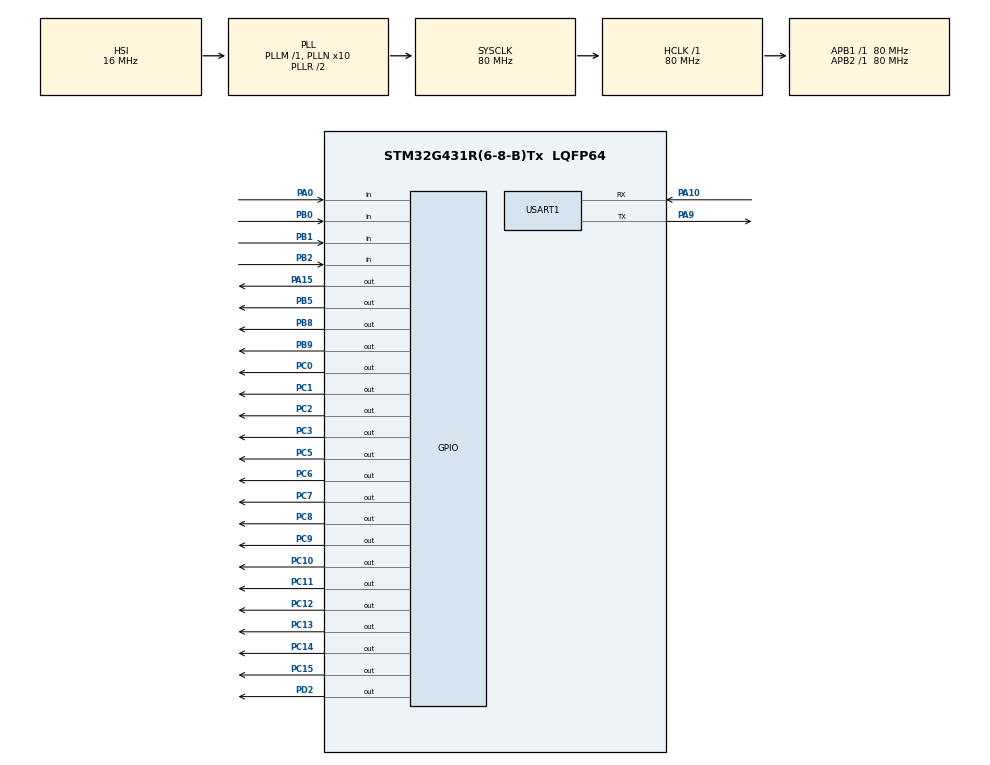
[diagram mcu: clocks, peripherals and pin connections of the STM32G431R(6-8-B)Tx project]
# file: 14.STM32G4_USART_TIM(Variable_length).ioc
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Mcu.Family=STM32G4
PB8-BOOT0.PinState=GPIO_PIN_RESET
RCC.CortexFreq_Value=80000000
PC10.GPIO_PuPd=GPIO_NOPULL
PD2.GPIO_ModeDefaultOutputPP=GPIO_MODE_OUTPUT_PP
PC10.Signal=GPIO_Output
PC12.Signal=GPIO_Output
PB9.GPIO_ModeDefaultOutputPP=GPIO_MODE_OUTPUT_PP
PC0.GPIO_ModeDefaultOutputPP=GPIO_MODE_OUTPUT_PP
PD2.GPIO_Speed=GPIO_SPEED_FREQ_LOW
PC10.GPIO_Speed=GPIO_SPEED_FREQ_LOW
PC2.GPIO_Speed=GPIO_SPEED_FREQ_LOW
PC3.GPIO_Speed=GPIO_SPEED_FREQ_LOW
RCC.SYSCLKSource=RCC_SYSCLKSOURCE_PLLCLK
ProjectManager.StackSize=0x400
PC3.PinState=GPIO_PIN_RESET
PC8.PinState=GPIO_PIN_RESET
PB8-BOOT0.GPIO_ModeDefaultOutputPP=GPIO_MODE_OUTPUT_PP
PC11.GPIO_PuPd=GPIO_NOPULL
PC13.GPIO_ModeDefaultOutputPP=GPIO_MODE_OUTPUT_PP
PB1.GPIO_PuPd=GPIO_NOPULL
RCC.HCLKFreq_Value=80000000
RCC.APB2TimFreq_Value=80000000
PC7.Signal=GPIO_Output
PB5.PinState=GPIO_PIN_RESET
PC3.Signal=GPIO_Output
PC1.PinState=GPIO_PIN_RESET
RCC.AHBFreq_Value=80000000
RCC.HSE_VALUE=24000000
PB2.Signal=GPIO_Input
PC1.GPIO_PuPd=GPIO_NOPULL
RCC.ADC12Freq_Value=80000000
PA14.Mode=Serial_Wire
PC13.GPIO_PuPd=GPIO_NOPULL
PC7.PinState=GPIO_PIN_RESET
PC11.GPIO_Speed=GPIO_SPEED_FREQ_LOW
VP_SYS_VS_DBSignals.Mode=DisableDeadBatterySignals
PC15-OSC32_OUT.PinState=GPIO_PIN_SET
PC10.PinState=GPIO_PIN_SET
PB2.GPIO_PuPd=GPIO_NOPULL
PA0.Signal=GPIO_Input
PC14-OSC32_IN.GPIO_Speed=GPIO_SPEED_FREQ_LOW
PC10.GPIO_ModeDefaultOutputPP=GPIO_MODE_OUTPUT_PP
Mcu.Package=LQFP64
PB9.Signal=GPIO_Output
PB1.Signal=GPIO_Input
PC14-OSC32_IN.PinState=GPIO_PIN_SET
PB0.GPIO_Mode=GPIO_MODE_INPUT
PA10.Signal=USART1_RX
PB9.GPIO_PuPd=GPIO_NOPULL
PA15.Signal=GPIO_Output
PC6.GPIO_PuPd=GPIO_NOPULL
PB5.GPIO_Speed=GPIO_SPEED_FREQ_LOW
PB8-BOOT0.GPIO_Speed=GPIO_SPEED_FREQ_LOW
PB9.GPIO_Speed=GPIO_SPEED_FREQ_LOW
PC15-OSC32_OUT.GPIO_ModeDefaultOutputPP=GPIO_MODE_OUTPUT_PP
PC2.GPIO_ModeDefaultOutputPP=GPIO_MODE_OUTPUT_PP
PC14-OSC32_IN.GPIO_ModeDefaultOutputPP=GPIO_MODE_OUTPUT_PP
RCC.APB1TimFreq_Value=80000000
PC13.GPIO_Speed=GPIO_SPEED_FREQ_LOW
PC15-OSC32_OUT.GPIO_Speed=GPIO_SPEED_FREQ_LOW
PC5.Signal=GPIO_Output
PC12.GPIO_PuPd=GPIO_NOPULL
PC0.GPIO_PuPd=GPIO_NOPULL
NVIC.USART1_IRQn=true\:0\:0\:false\:false\:true\:true\:true
PF1-OSC_OUT.Mode=HSE-External-Oscillator
PC6.GPIO_Speed=GPIO_SPEED_FREQ_LOW
PC0.PinState=GPIO_PIN_RESET
PF1-OSC_OUT.Signal=RCC_OSC_OUT
PC13.PinState=GPIO_PIN_SET
RCC.HSI48_VALUE=48000000
PC6.GPIO_ModeDefaultOutputPP=GPIO_MODE_OUTPUT_PP
PB5.GPIO_ModeDefaultOutputPP=GPIO_MODE_OUTPUT_PP
PC7.GPIO_ModeDefaultOutputPP=GPIO_MODE_OUTPUT_PP
TIM4.AutoReloadPreload=TIM_AUTORELOAD_PRELOAD_ENABLE
PA10.Mode=Asynchronous
PB8-BOOT0.GPIO_PuPd=GPIO_NOPULL
PD2.GPIO_PuPd=GPIO_NOPULL
PC11.Signal=GPIO_Output
PC13.Signal=GPIO_Output
TIM4.PeriodNoDither=1000 - 1
PC8.Signal=GPIO_Output
PC2.Signal=GPIO_Output
PC6.Signal=GPIO_Output
PC9.PinState=GPIO_PIN_SET
PA0.GPIO_Mode=GPIO_MODE_INPUT
RCC.EXTERNAL_CLOCK_VALUE=12288000
PC12.GPIO_ModeDefaultOutputPP=GPIO_MODE_OUTPUT_PP
PC0.Signal=GPIO_Output
PC14-OSC32_IN.Signal=GPIO_Output
PC5.GPIO_PuPd=GPIO_NOPULL
USART1.VirtualMode-Asynchronous=VM_ASYNC
PA13.Signal=SYS_JTMS-SWDIO
PA9.Mode=Asynchronous
PC0.GPIO_Speed=GPIO_SPEED_FREQ_LOW
PC12.PinState=GPIO_PIN_SET
ProjectManager.TargetToolchain=MDK-ARM V5.27
PB1.GPIO_Mode=GPIO_MODE_INPUT
PA9.Signal=USART1_TX
RCC.USBFreq_Value=80000000
PC7.GPIO_PuPd=GPIO_NOPULL
TIM4.Prescaler=80 - 1
RCC.LSE_VALUE=32768
PC15-OSC32_OUT.Signal=GPIO_Output
PF0-OSC_IN.Mode=HSE-External-Oscillator
PC6.PinState=GPIO_PIN_RESET
PD2.PinState=GPIO_PIN_RESET
PB8-BOOT0.Signal=GPIO_Output
board=custom
PC7.GPIO_Speed=GPIO_SPEED_FREQ_LOW
RCC.VCOOutputFreq_Value=160000000
PA15.PinState=GPIO_PIN_RESET
RCC.APB2Freq_Value=80000000
PB2.GPIO_Mode=GPIO_MODE_INPUT
PC11.PinState=GPIO_PIN_SET
PC9.GPIO_ModeDefaultOutputPP=GPIO_MODE_OUTPUT_PP
PC9.GPIO_PuPd=GPIO_NOPULL
PC1.GPIO_Speed=GPIO_SPEED_FREQ_LOW
PC15-OSC32_OUT.GPIO_PuPd=GPIO_NOPULL
PC2.GPIO_PuPd=GPIO_NOPULL
PC11.GPIO_ModeDefaultOutputPP=GPIO_MODE_OUTPUT_PP
PA13.Mode=Serial_Wire
Mcu.Name=STM32G431R(6-8-B)Tx
RCC.SYSCLKFreq_VALUE=80000000
PB5.Signal=GPIO_Output
PC2.PinState=GPIO_PIN_RESET
PC5.PinState=GPIO_PIN_RESET
PB5.GPIO_PuPd=GPIO_NOPULL
PB9.PinState=GPIO_PIN_RESET
PA14.Signal=SYS_JTCK-SWCLK
ProjectManager.HeapSize=0x200
RCC.HSI_VALUE=16000000
VP_TIM4_VS_ClockSourceINT.Mode=Internal
PC1.GPIO_ModeDefaultOutputPP=GPIO_MODE_OUTPUT_PP
PC9.GPIO_Speed=GPIO_SPEED_FREQ_LOW
NVIC.PriorityGroup=NVIC_PRIORITYGROUP_4
PC5.GPIO_Speed=GPIO_SPEED_FREQ_LOW
RCC.PLLN=10
PC14-OSC32_IN.GPIO_PuPd=GPIO_NOPULL
PC9.Signal=GPIO_Output
PF0-OSC_IN.Signal=RCC_OSC_IN
PC3.GPIO_ModeDefaultOutputPP=GPIO_MODE_OUTPUT_PP
PD2.Signal=GPIO_Output
NVIC.TIM4_IRQn=true\:0\:0\:false\:false\:true\:true\:true
RCC.APB1Freq_Value=80000000
PC12.GPIO_Speed=GPIO_SPEED_FREQ_LOW
PC5.GPIO_ModeDefaultOutputPP=GPIO_MODE_OUTPUT_PP
PB0.Signal=GPIO_Input
PC1.Signal=GPIO_Output
PB0.GPIO_PuPd=GPIO_NOPULL
PC3.GPIO_PuPd=GPIO_NOPULL

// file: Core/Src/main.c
/* USER CODE BEGIN Header */
/**
  ******************************************************************************
  * @file           : main.c
  * @brief          : Main program body
  ******************************************************************************
  * @attention
  *
  * <h2><center>&copy; Copyright (c) 2021 STMicroelectronics.
  * All rights reserved.</center></h2>
  *
  * This software component is licensed by ST under BSD 3-Clause license,
  * the "License"; You may not use this file except in compliance with the
  * License. You may obtain a copy of the License at:
  *                        opensource.org/licenses/BSD-3-Clause
  *
  ******************************************************************************
  */
/* USER CODE END Header */
#include "main.h"
#include "tim.h"
#include "usart.h"
#include "gpio.h"

/* USER CODE BEGIN Includes */
#include "led.h"
#include "key.h"
#include "lcd.h"
#include "stdio.h"
#include "string.h"
/* USER CODE END Includes */

/* USER CODE BEGIN PD */
#define RXBUFFERSIZE  256     //最大接收字节数
/* USER CODE END PD */

/* USER CODE BEGIN PV */

uint16_t led_tick = 0;
_Bool led_flag = 0;
uint8_t key_tick = 0;

char RxBuffer[RXBUFFERSIZE];   //接收数据
uint8_t aRxBuffer;			//接收中断缓冲
uint8_t Uart1_Rx_Cnt = 0;		//接收缓冲计数
_Bool RxFlag = 0;
uint8_t Rx_Tick = 0;
_Bool Rx_IDLE_Flag = 0;
/* USER CODE END PV */

void SystemClock_Config(void);
/* USER CODE BEGIN PFP */
void led_proc(void);
void key_scan(void);
void usart_proc(void);
/* USER CODE END PFP */

int main(void)
{

  /* MCU Configuration--------------------------------------------------------*/

  /* Reset of all peripherals, Initializes the Flash interface and the Systick. */
  HAL_Init();

  /* Configure the system clock */
  SystemClock_Config();

  /* Initialize all configured peripherals */
  MX_GPIO_Init();
  MX_TIM4_Init();
  MX_USART1_UART_Init();
  /* USER CODE BEGIN 2 */
	led_init();
	LCD_Init();

	/*使能定时器4中断*/
	HAL_TIM_Base_Start_IT(&htim4);

	HAL_UART_Receive_IT(&huart1, (uint8_t *)&aRxBuffer, 1);

	LCD_Clear(Blue);
	LCD_SetBackColor(Blue);
	LCD_SetTextColor(White);

	LCD_DisplayStringLine(Line0, (uint8_t *)"                    ");
	LCD_DisplayStringLine(Line1, (uint8_t *)"                    ");
	LCD_DisplayStringLine(Line2, (uint8_t *)"      LCD Test      ");
	LCD_DisplayStringLine(Line3, (uint8_t *)"                    ");
	LCD_DisplayStringLine(Line4, (uint8_t *)"                    ");

	LCD_SetBackColor(White);
	LCD_SetTextColor(Blue);

	LCD_DisplayStringLine(Line5, (uint8_t *)"                    ");
	LCD_DisplayStringLine(Line6, (uint8_t *)"       HAL LIB      ");
	LCD_DisplayStringLine(Line7, (uint8_t *)"                    ");
	LCD_DisplayStringLine(Line8, (uint8_t *)"         @80        ");
	LCD_DisplayStringLine(Line9, (uint8_t *)"                    ");

	printf("HELLO WORLD!!!\r\n");
  /* USER CODE END 2 */

  /* Infinite loop */
  while (1)
  {

    /* USER CODE BEGIN 3 */
		led_proc();
		usart_proc();
  }
  /* USER CODE END 3 */
}

void SystemClock_Config(void)
{
  RCC_OscInitTypeDef RCC_OscInitStruct = {0};
  RCC_ClkInitTypeDef RCC_ClkInitStruct = {0};
  RCC_PeriphCLKInitTypeDef PeriphClkInit = {0};

  /** Configure the main internal regulator output voltage
  */
  HAL_PWREx_ControlVoltageScaling(PWR_REGULATOR_VOLTAGE_SCALE1);
  /** Initializes the RCC Oscillators according to the specified parameters
  * in the RCC_OscInitTypeDef structure.
  */
  RCC_OscInitStruct.OscillatorType = RCC_OSCILLATORTYPE_HSI;
  RCC_OscInitStruct.HSIState = RCC_HSI_ON;
  RCC_OscInitStruct.HSICalibrationValue = RCC_HSICALIBRATION_DEFAULT;
  RCC_OscInitStruct.PLL.PLLState = RCC_PLL_ON;
  RCC_OscInitStruct.PLL.PLLSource = RCC_PLLSOURCE_HSI;
  RCC_OscInitStruct.PLL.PLLM = RCC_PLLM_DIV1;
  RCC_OscInitStruct.PLL.PLLN = 10;
  RCC_OscInitStruct.PLL.PLLP = RCC_PLLP_DIV2;
  RCC_OscInitStruct.PLL.PLLQ = RCC_PLLQ_DIV2;
  RCC_OscInitStruct.PLL.PLLR = RCC_PLLR_DIV2;
  if (HAL_RCC_OscConfig(&RCC_OscInitStruct) != HAL_OK)
  {
    Error_Handler();
  }
  /** Initializes the CPU, AHB and APB buses clocks
  */
  RCC_ClkInitStruct.ClockType = RCC_CLOCKTYPE_HCLK|RCC_CLOCKTYPE_SYSCLK
                              |RCC_CLOCKTYPE_PCLK1|RCC_CLOCKTYPE_PCLK2;
  RCC_ClkInitStruct.SYSCLKSource = RCC_SYSCLKSOURCE_PLLCLK;
  RCC_ClkInitStruct.AHBCLKDivider = RCC_SYSCLK_DIV1;
  RCC_ClkInitStruct.APB1CLKDivider = RCC_HCLK_DIV1;
  RCC_ClkInitStruct.APB2CLKDivider = RCC_HCLK_DIV1;

  if (HAL_RCC_ClockConfig(&RCC_ClkInitStruct, FLASH_LATENCY_2) != HAL_OK)
  {
    Error_Handler();
  }
  /** Initializes the peripherals clocks
  */
  PeriphClkInit.PeriphClockSelection = RCC_PERIPHCLK_USART1;
  PeriphClkInit.Usart1ClockSelection = RCC_USART1CLKSOURCE_PCLK2;
  if (HAL_RCCEx_PeriphCLKConfig(&PeriphClkInit) != HAL_OK)
  {
    Error_Handler();
  }
}

/* USER CODE BEGIN 4 */
void HAL_TIM_PeriodElapsedCallback(TIM_HandleTypeDef *htim)
{
	if(htim == (&htim4))
	{
		if(++led_tick == 500)
		{
			led_tick = 0;
			led_flag = 1;
		}
		if(++key_tick == 10)
		{
			key_tick = 0;
			key_scan();
		}
		if(RxFlag && ++Rx_Tick == 50)
		{
			RxFlag = 0;
			Rx_Tick = 0;
			Rx_IDLE_Flag = 1;
		}
	}
}

void led_proc(void)
{
	if(led_flag)
	{
		led_flag = 0;
		led_toggle(LD8);
	}
}

void key_scan(void)
{
	key_refresh();	// 刷新一次按键的状态信息
	if(key_falling == B1)
	{
		led_toggle(LD1);
	}
	else if(key_falling == B2)
	{
		led_toggle(LD2);
	}
	else if(key_falling == B3)
	{
		led_toggle(LD3);
	}
	else if(key_falling == B4)
	{
		led_toggle(LD4);
	}
}

void usart_proc(void)
{
	if(Rx_IDLE_Flag)
	{
		Rx_IDLE_Flag = 0;
		printf("%s\r\n",RxBuffer);
		memset(RxBuffer,0,sizeof(RxBuffer));
		Uart1_Rx_Cnt = 0;
	}
}

void HAL_UART_RxCpltCallback(UART_HandleTypeDef *huart)
{
	if(huart == &huart1)
	{
		RxBuffer[Uart1_Rx_Cnt++] = aRxBuffer;
		RxFlag = 1;
		Rx_Tick = 0;
		HAL_UART_Receive_IT(&huart1, (uint8_t *)&aRxBuffer, 1);
	}
}

#ifdef __GNUC__
  /* With GCC/RAISONANCE, small printf (option LD Linker->Libraries->Small printf
     set to 'Yes') calls __io_putchar() */
  #define PUTCHAR_PROTOTYPE int __io_putchar(int ch)
#else
  #define PUTCHAR_PROTOTYPE int fputc(int ch, FILE *f)
#endif /* __GNUC__ */

	/**
  * @brief  Retargets the C library printf function to the USART.
  * @param  None
  * @retval None
  */
PUTCHAR_PROTOTYPE
{
  /* Place your implementation of fputc here */
  /* e.g. write a character to the USART */
	// 对于HAL库，只需要这一句就够了
  HAL_UART_Transmit(&huart1, (uint8_t *)&ch, 1, 0xFFFF);

  return ch;
}

/* USER CODE END 4 */

void Error_Handler(void)
{
  __disable_irq();
  while (1)
  {
  }
}

/************************ (C) COPYRIGHT STMicroelectronics *****END OF FILE****/
